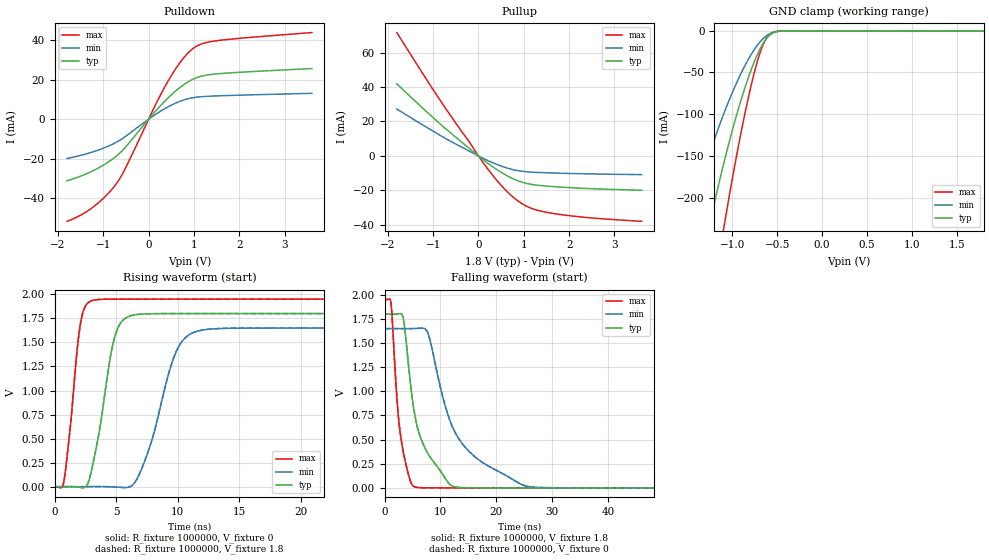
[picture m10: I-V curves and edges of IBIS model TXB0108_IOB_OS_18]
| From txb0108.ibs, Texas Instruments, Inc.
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[Model]   TXB0108_IOB_OS_18
Model_type  I/O
Vinl=0.5775
Vinh=1.2675
Enable   Active-High
Vref =   0
Rref =   1000000
Cref =   15p
Vmeas =   0.9
| variable   typ   min   max
C_comp   9.65pF   8.25pF   10.49pF
| C_pullup   10.48pF   7.87pF   12.25pF
| C_pulldown   10.44pF   9.04pF   11.48pF
| C_tri-state   9.65pF   8.25pF   10.49pF
[Temperature Range]   40   100   -40
| Ambient temperature   25   85   -40
[Voltage range]   1.8   1.65   1.95
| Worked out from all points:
|   slope of the pulldown table from 0 to 0.27 V, typ, clamps not added: 38.2 ohm
|   slope of the pullup table from 0 to 0.27 V, typ, clamps not added: 49.4 ohm
|   GND clamp passes 1 mA (typ) near -0.50 V on its own axis
|   rising waveform, R_fixture 1000000, V_fixture 0: 20-80 % time 1.36ns typ, 2.12ns min, 875ps max; typ from 0 V to 1.8 V
|   falling waveform, R_fixture 1000000, V_fixture 1.8: 20-80 % time 3.73ns typ, 7.08ns min, 1.74ns max; typ from 1.8 V to 0 V
|   rising waveform, R_fixture 1000000, V_fixture 1.8: 20-80 % time 1.36ns typ, 2.12ns min, 875ps max; typ from 0 V to 1.8 V
|   falling waveform, R_fixture 1000000, V_fixture 0: 20-80 % time 3.73ns typ, 7.08ns min, 1.74ns max; typ from 1.8 V to 0 V
[GND Clamp]
| TXB0108_IOB_18
|   Voltage   I(typ)   I(min)   I(max)
-1.8V     -533mA     -353.8mA   -755.2mA
-1.505V   -362.7mA   -235.2mA   -526.3mA
-1.48V    -349.1mA   -225.9mA   -507.5mA
-1.265V   -237.5mA   -150.9mA   -351mA
-1.245V   -227.8mA   -144.5mA   -337.1mA
-1.09V    -156.6mA   -98.01mA   -233.2mA
-920mV    -89.04mA   -54.77mA   -131.3mA
-790mV    -46.67mA   -28.28mA   -65.27mA
-690mV    -21.51mA   -13.12mA   -25.91mA
-600mV    -6.919mA   -4.608mA   -6.035mA
-410mV    -97.14uA   -110.3uA   -21.13uA
1.8V      319.3pA    2.501nA    49.73pA
[Pulldown]
| TXB0108_IOB_18
|   Voltage   I(typ)   I(min)   I(max)
-1.8V     -31.24mA   -19.93mA   -51.75mA
-1.22V    -26.04mA   -16.5mA    -44.44mA
-945mV    -22.52mA   -14.2mA    -38.89mA
-710mV    -18.68mA   -11.65mA   -32.64mA
-525mV    -14.54mA   -8.968mA   -25.41mA
130mV     3.504mA    2.075mA    6.302mA
395mV     10.02mA    5.83mA     17.96mA
705mV     16.32mA    9.187mA    29.1mA
975mV     20.22mA    10.88mA    35.75mA
1.18V     21.89mA    11.42mA    38.25mA
1.5V      22.96mA    11.8mA     39.76mA
3.6V      25.66mA    13.11mA    43.9mA
[Pullup]
| TXB0108_IOB_18
|   Voltage   I(typ)   I(min)   I(max)
-1.8V     41.83mA    27.14mA    71.6mA
-870mV    19.16mA    12.33mA    33.29mA
-205mV    4.462mA    2.825mA    8.253mA
100mV     -2.11mA    -1.327mA   -3.766mA
485mV     -9.261mA   -5.712mA   -16.6mA
665mV     -11.96mA   -7.275mA   -21.52mA
835mV     -14.04mA   -8.372mA   -25.4mA
995mV     -15.51mA   -9.006mA   -28.25mA
1.155V    -16.46mA   -9.364mA   -30.27mA
1.59V     -17.69mA   -9.853mA   -33.12mA
2.44V     -18.95mA   -10.42mA   -35.86mA
3.6V      -19.92mA   -10.85mA   -37.94mA
[Ramp]
| TXB0108_IOB_18
| variable   typ   min   max
dV/dt_r   1.09/1.37E-09   1.00/2.13E-09   1.18/8.82E-10
dV/dt_f   1.08/3.72E-09   0.99/7.06E-09   1.17/1.74E-09
R_load = 1000000
[Rising Waveform]
| TXB0108_IOB_18
R_fixture =   1000000
C_fixture =   0
L_fixture =   0
V_fixture =   0
V_fixture_min = 0
V_fixture_max = 0
|   Time   V(typ)   V(min)   V(max)
0s        774.2pV    12.31nV    157.9pV
773ps     473uV      6.947uV    79.23mV
2.165ns   -9.125mV   131.3uV    1.749V
3.365ns   401.7mV    551.8uV    1.944V
4.637ns   1.428V     -1.545mV   1.95V
5.429ns   1.714V     -7.59mV    1.95V
7.085ns   1.795V     193.1mV    1.95V
10.06ns   1.8V       1.455V     1.95V
12.39ns   1.8V       1.636V     1.95V
117.1ns   1.8V       1.65V      1.95V
[Falling Waveform]
| TXB0108_IOB_18
R_fixture =   1000000
C_fixture =   0
L_fixture =   0
V_fixture =   1.8
V_fixture_min = 1.65
V_fixture_max = 1.95
|   Time   V(typ)   V(min)   V(max)
0s        1.8V       1.65V      1.95V
1.133ns   1.8V       1.65V      1.92V
2.381ns   1.802V     1.65V      797.4mV
3.245ns   1.777V     1.65V      404.3mV
5.477ns   731.9mV    1.651V     8.354mV
7.733ns   358.7mV    1.604V     480.6uV
11ns      85.55mV    820.7mV    65.29uV
13.54ns   3.503mV    485.8mV    44.04uV
25.33ns   70.26uV    17.86mV    40.24uV
117.1ns   65.5uV     100.3uV    39.57uV
[Rising Waveform]
| TXB0108_IOB_18
R_fixture =   1000000
C_fixture =   0
L_fixture =   0
V_fixture =   1.8
V_fixture_min = 1.65
V_fixture_max = 1.95
|   Time   V(typ)   V(min)   V(max)
0s        65.11uV    100.1uV    39.14uV
773ps     538uV      107.1uV    79.27mV
2.165ns   -9.061mV   231.5uV    1.749V
3.365ns   401.8mV    651uV      1.944V
4.637ns   1.428V     -1.447mV   1.95V
5.429ns   1.714V     -7.492mV   1.95V
7.085ns   1.795V     193.2mV    1.95V
10.06ns   1.8V       1.455V     1.95V
12.39ns   1.8V       1.636V     1.95V
117.1ns   1.8V       1.65V      1.95V
[Falling Waveform]
| TXB0108_IOB_18
R_fixture =   1000000
C_fixture =   0
L_fixture =   0
V_fixture =   0
V_fixture_min = 0
V_fixture_max = 0
|   Time   V(typ)   V(min)   V(max)
0s        1.8V       1.65V      1.95V
1.157ns   1.799V     1.65V      1.909V
2.381ns   1.802V     1.65V      797.4mV
3.245ns   1.777V     1.649V     404.2mV
5.477ns   731.7mV    1.651V     8.314mV
7.733ns   358.5mV    1.603V     441.4uV
11ns      85.27mV    820.5mV    26.14uV
13.52ns   3.507mV    487.6mV    4.956uV
25.3ns    5.202uV    18.08mV    1.093uV
117.1ns   462.9nV    198nV      264.2nV
